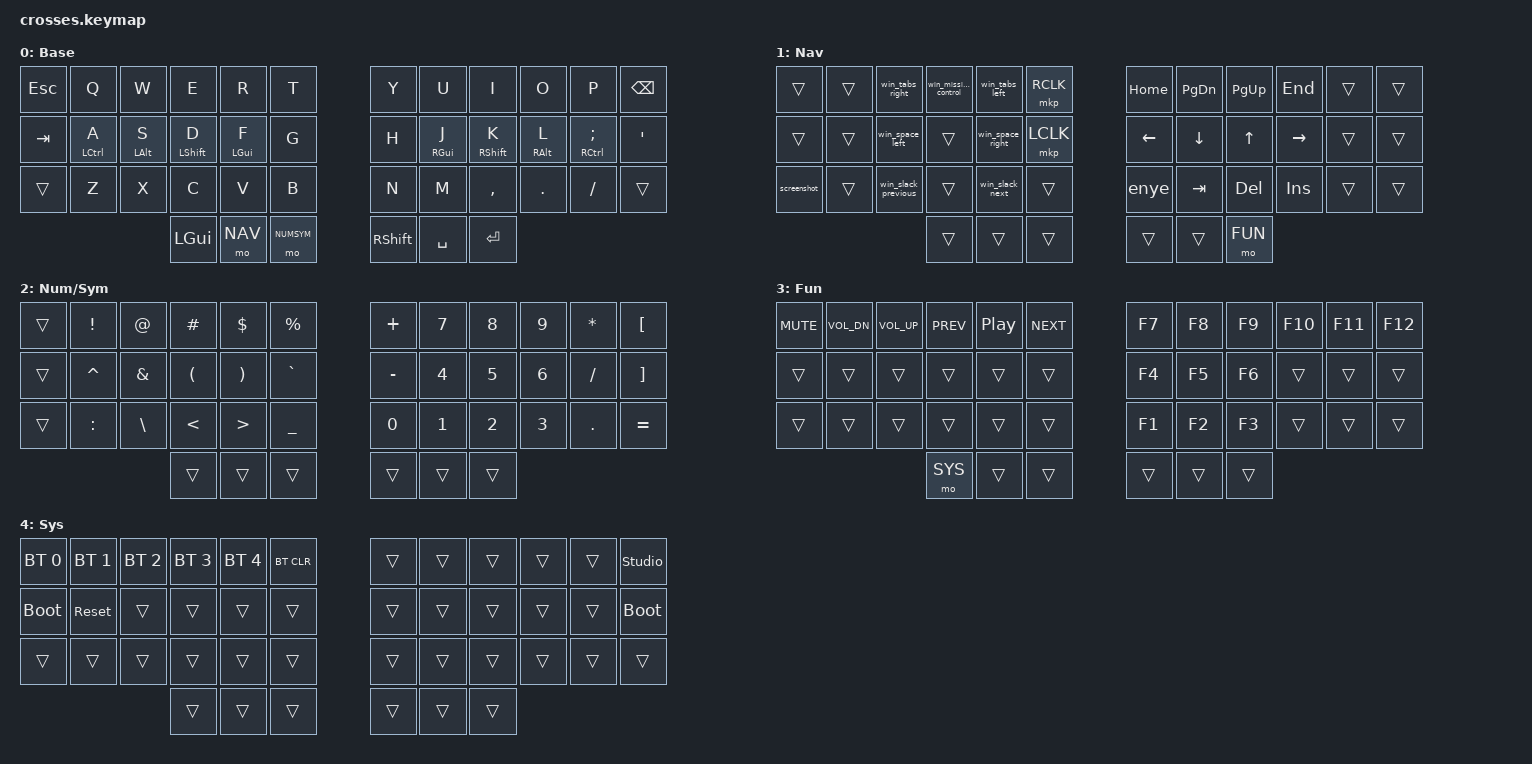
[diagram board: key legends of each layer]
#include <behaviors.dtsi>
#include <dt-bindings/zmk/bt.h>
#include <dt-bindings/zmk/keys.h>
#include <dt-bindings/zmk/pointing.h>
#include "scroll-invert.dtsi"

#define BASE 0
#define NAV 1
#define NUMSYM 2
#define FUN 3
#define SYS 4

/* The exact UHK labels are not present in the JSON export, so these use the
 * standard macOS equivalents for the confirmed user-facing actions. */
/ {
    chosen { zmk,physical-layout = &gggw_crosses_42_layout; };

    combos {
        compatible = "zmk,combos";
        sys_combo {
            timeout-ms = <80>;
            key-positions = <38 41>;
            layers = <BASE>;
            bindings = <&mo SYS>;
        };
        fun_combo {
            timeout-ms = <80>;
            key-positions = <37 38>;
            layers = <BASE>;
            bindings = <&mo FUN>;
        };
        enter_combo {
            timeout-ms = <35>;
            require-prior-idle-ms = <100>;
            key-positions = <15 16>;
            layers = <BASE>;
            slow-release;
            bindings = <&combo_mods &cmd_shift RET>;
        };
        enter_combo_jk {
            timeout-ms = <35>;
            require-prior-idle-ms = <100>;
            key-positions = <19 20>;
            layers = <BASE>;
            slow-release;
            bindings = <&combo_mods &cmd_shift RET>;
        };
        parentheses_combo {
            timeout-ms = <35>;
            require-prior-idle-ms = <100>;
            key-positions = <5 6>;
            layers = <BASE>;
            bindings = <&parentheses_macro>;
        };
    };

    behaviors {
        combo_mods: combo_mods {
            compatible = "zmk,behavior-hold-tap";
            #binding-cells = <2>;
            flavor = "tap-preferred";
            tapping-term-ms = <280>;
            bindings = <&cmd_shift>, <&kp>;
        };

        cmd_shift: cmd_shift {
            compatible = "zmk,behavior-macro";
            #binding-cells = <0>;
            bindings = <&macro_press &kp LGUI>, <&macro_press &kp LSHFT>, <&macro_pause_for_release>, <&macro_release &kp LSHFT>, <&macro_release &kp LGUI>;
        };

        win_tabs_left: win_tabs_left {
            compatible = "zmk,behavior-macro";
            #binding-cells = <0>;
            bindings = <&macro_press &kp LCTRL>, <&macro_tap &kp TAB>, <&macro_release &kp LCTRL>;
        };
        win_tabs_right: win_tabs_right {
            compatible = "zmk,behavior-macro";
            #binding-cells = <0>;
            bindings = <&macro_press &kp LCTRL>, <&macro_press &kp LSHFT>, <&macro_tap &kp TAB>, <&macro_release &kp LSHFT>, <&macro_release &kp LCTRL>;
        };
        win_mission_control: win_mission_control {
            compatible = "zmk,behavior-macro";
            #binding-cells = <0>;
            bindings = <&macro_press &kp LCTRL>, <&macro_tap &kp UP>, <&macro_release &kp LCTRL>;
        };
        win_space_left: win_space_left {
            compatible = "zmk,behavior-macro";
            #binding-cells = <0>;
            bindings = <&macro_press &kp LCTRL>, <&macro_press &kp LALT>, <&macro_tap &kp LEFT>, <&macro_release &kp LALT>, <&macro_release &kp LCTRL>;
        };
        win_space_right: win_space_right {
            compatible = "zmk,behavior-macro";
            #binding-cells = <0>;
            bindings = <&macro_press &kp LCTRL>, <&macro_press &kp LALT>, <&macro_tap &kp RIGHT>, <&macro_release &kp LALT>, <&macro_release &kp LCTRL>;
        };
        win_slack_previous: win_slack_previous {
            compatible = "zmk,behavior-macro";
            #binding-cells = <0>;
            bindings = <&macro_press &kp LGUI>, <&macro_tap &kp LBKT>, <&macro_release &kp LGUI>;
        };
        win_slack_next: win_slack_next {
            compatible = "zmk,behavior-macro";
            #binding-cells = <0>;
            bindings = <&macro_press &kp LGUI>, <&macro_tap &kp RBKT>, <&macro_release &kp LGUI>;
        };
        screenshot: screenshot {
            compatible = "zmk,behavior-macro";
            #binding-cells = <0>;
            bindings = <&macro_press &kp LGUI>, <&macro_press &kp LCTRL>, <&macro_press &kp LSHFT>, <&macro_tap &kp N4>, <&macro_release &kp LSHFT>, <&macro_release &kp LCTRL>, <&macro_release &kp LGUI>;
        };
        parentheses_macro: parentheses_macro {
            compatible = "zmk,behavior-macro";
            #binding-cells = <0>;
            bindings = <&macro_tap &kp LPAR>, <&macro_tap &kp RPAR>, <&macro_tap &kp LEFT>;
        };
        enye_lower: enye_lower {
            compatible = "zmk,behavior-macro";
            #binding-cells = <0>;
            bindings = <&macro_press &kp LALT>, <&macro_tap &kp N>, <&macro_release &kp LALT>, <&macro_tap &kp N>;
        };
        enye_upper_lshift: enye_upper_lshift {
            compatible = "zmk,behavior-macro";
            #binding-cells = <0>;
            bindings = <&macro_press &kp LALT>, <&macro_tap &kp N>, <&macro_release &kp LALT>, <&macro_press &kp RSHFT>, <&macro_tap &kp N>, <&macro_release &kp RSHFT>;
        };
        enye_upper_rshift: enye_upper_rshift {
            compatible = "zmk,behavior-macro";
            #binding-cells = <0>;
            bindings = <&macro_press &kp LALT>, <&macro_tap &kp N>, <&macro_release &kp LALT>, <&macro_press &kp LSHFT>, <&macro_tap &kp N>, <&macro_release &kp LSHFT>;
        };
        enye_rshift: enye_rshift {
            compatible = "zmk,behavior-mod-morph";
            #binding-cells = <0>;
            bindings = <&enye_lower>, <&enye_upper_rshift>;
            mods = <MOD_RSFT>;
        };
        enye: enye {
            compatible = "zmk,behavior-mod-morph";
            #binding-cells = <0>;
            bindings = <&enye_rshift>, <&enye_upper_lshift>;
            mods = <MOD_LSFT>;
        };
        hml: homerow_mods_left {
            compatible = "zmk,behavior-hold-tap";
            #binding-cells = <2>;
            tapping-term-ms = <300>;
            quick-tap-ms = <175>;
            require-prior-idle-ms = <125>;
            flavor = "tap-preferred";
            hold-trigger-key-positions = <6 7 8 9 10 11 18 19 20 21 22 23 30 31 32 33 34 35 39 40 41>;
            hold-trigger-on-release;
            bindings = <&kp>, <&kp>;
        };
        hmr: homerow_mods_right {
            compatible = "zmk,behavior-hold-tap";
            #binding-cells = <2>;
            tapping-term-ms = <300>;
            quick-tap-ms = <175>;
            require-prior-idle-ms = <125>;
            flavor = "tap-preferred";
            hold-trigger-key-positions = <0 1 2 3 4 5 12 13 14 15 16 17 24 25 26 27 28 29 36 37 38>;
            hold-trigger-on-release;
            bindings = <&kp>, <&kp>;
        };
    };

    keymap {
        compatible = "zmk,keymap";

        base_layer {
            display-name = "Base";
            bindings = <
                &kp ESC   &kp Q        &kp W        &kp E        &kp R        &kp T        &kp Y        &kp U        &kp I        &kp O        &kp P        &kp BSPC
                &kp TAB             &hml LCTRL A  &hml LALT S    &hml LSHFT D  &hml LGUI F  &kp G        &kp H        &hmr RGUI J    &hmr RSHFT K   &hmr RALT L   &hmr RCTRL SEMI &kp SQT
                &trans    &kp Z        &kp X        &kp C        &kp V        &kp B        &kp N        &kp M        &kp COMMA   &kp DOT      &kp FSLH    &trans
                                       &kp LGUI       &mo NAV        &mo NUMSYM     &kp RSHFT     &kp SPACE      &kp RET
            >;
        };

        nav_layer {
            display-name = "Nav";
            bindings = <
                &trans &trans &win_tabs_right &win_mission_control &win_tabs_left &mkp RCLK       &kp HOME  &kp PG_DN &kp PG_UP &kp END  &trans     &trans
                &trans &trans &win_space_left &trans &win_space_right &mkp LCLK       &kp LEFT  &kp DOWN &kp UP   &kp RIGHT &trans   &trans
                &screenshot &trans &win_slack_previous &trans &win_slack_next &trans &enye &kp TAB &kp DEL   &kp INS    &trans &trans
                                       &trans &trans &trans &trans &trans &mo FUN
            >;
        };

        numsym_layer {
            display-name = "Num/Sym";
            bindings = <
                &trans &kp EXCL &kp AT &kp HASH &kp DLLR &kp PRCNT       &kp PLUS &kp N7 &kp N8 &kp N9 &kp ASTERISK &kp LBKT
                &trans    &kp CARET &kp AMPS &kp LPAR &kp RPAR &kp GRAVE       &kp MINUS &kp N4 &kp N5 &kp N6 &kp FSLH &kp RBKT
                &trans &kp COLON &kp BSLH &kp LT &kp GT &kp UNDER        &kp N0 &kp N1 &kp N2 &kp N3 &kp DOT &kp EQUAL
                &trans &trans &trans &trans &trans &trans
            >;
        };

        fun_layer {
            display-name = "Fun";
            bindings = <
                &kp C_MUTE &kp C_VOL_DN &kp C_VOL_UP &kp C_PREV &kp C_PP &kp C_NEXT       &kp F7 &kp F8 &kp F9 &kp F10 &kp F11 &kp F12
                &trans &trans &trans &trans &trans &trans       &kp F4 &kp F5 &kp F6 &trans &trans &trans
                &trans &trans &trans &trans &trans &trans       &kp F1 &kp F2 &kp F3 &trans &trans &trans
                                       &mo SYS &trans &trans &trans &trans &trans
            >;
        };

        sys_layer {
            display-name = "Sys";
            bindings = <
                &bt BT_SEL 0 &bt BT_SEL 1 &bt BT_SEL 2 &bt BT_SEL 3 &bt BT_SEL 4 &bt BT_CLR       &trans &trans &trans &trans &trans &studio_unlock
                &bootloader &sys_reset &trans &trans &trans &trans       &trans &trans &trans &trans &trans &bootloader
                &trans &trans &trans &trans &trans &trans       &trans &trans &trans &trans &trans &trans
                                       &trans &trans &trans &trans &trans &trans
            >;
        };
    };
};
